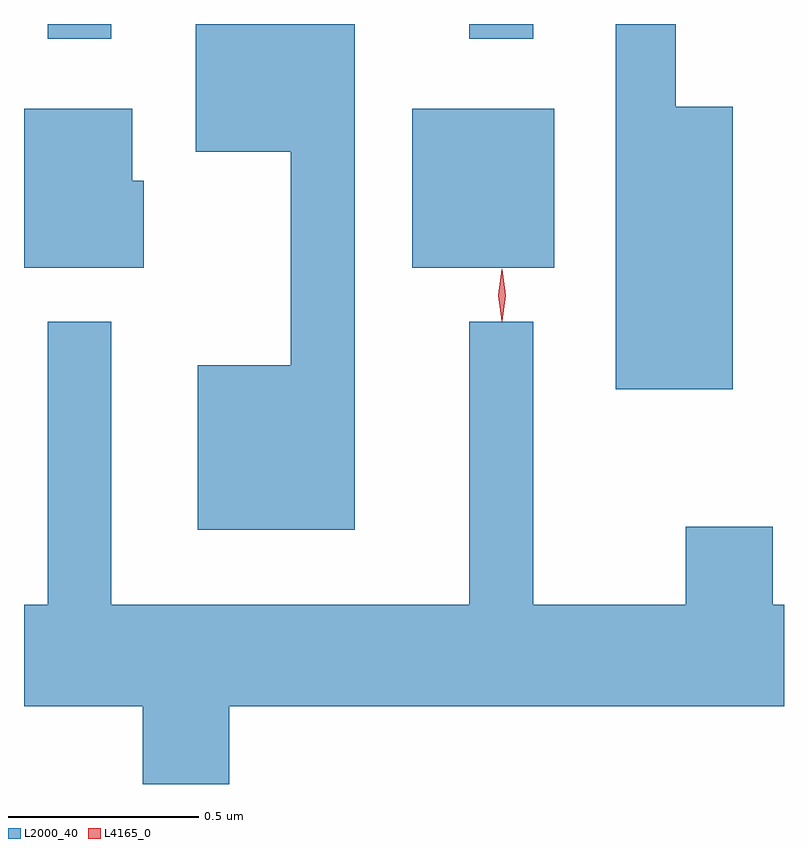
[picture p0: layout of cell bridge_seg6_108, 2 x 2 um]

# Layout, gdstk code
import gdstk
lib = gdstk.Library(unit=1e-6, precision=1e-09)
def R(c, l, rs):  # rectangles x0, y0, x1, y1
    for r in rs: c.add(gdstk.rectangle(r[:2], r[2:], *l))
def P(c, l, *ps):  # polygons
    for p in ps: c.add(gdstk.Polygon(p, *l))
L2000_40 = (2000, 40)
L4165_0 = (4165, 0)

bridge_seg6_108 = lib.new_cell('bridge_seg6_108')
R(bridge_seg6_108, L2000_40, [(1050.211,1631.111,1050.584,1631.529), (1049.251,1631.713,1049.419,1631.752), (1050.361,1631.713,1050.529,1631.752)])
P(bridge_seg6_108, L2000_40, [(1050.059,1631.752),(1049.641,1631.752),(1049.641,1631.416),(1049.891,1631.416),(1049.891,1630.854),(1049.646,1630.854),(1049.646,1630.421),(1050.059,1630.421)],
  [(1051.054,1631.534),(1050.904,1631.534),(1050.904,1631.752),(1050.746,1631.752),(1050.746,1630.791),(1051.054,1630.791)],
  [(1049.504,1631.339),(1049.474,1631.339),(1049.474,1631.529),(1049.189,1631.529),(1049.189,1631.111),(1049.504,1631.111)],
  [(1049.729,1629.956),(1051.189,1629.956),(1051.189,1630.224),(1051.159,1630.224),(1051.159,1630.429),(1050.931,1630.429),(1050.931,1630.224),(1050.529,1630.224),(1050.529,1630.968),(1050.361,1630.968),(1050.361,1630.224),(1049.419,1630.224),(1049.419,1630.968),(1049.251,1630.968),(1049.251,1630.224),(1049.189,1630.224),(1049.189,1629.956),(1049.501,1629.956),(1049.501,1629.752),(1049.729,1629.752)])
P(bridge_seg6_108, L4165_0, [(1050.447,1630.969),(1050.446,1630.97),(1050.437,1631.038),(1050.446,1631.106),(1050.447,1631.106),(1050.447,1631.106),(1050.457,1631.038),(1050.447,1630.97)],
  [(1050.447,1630.972),(1050.446,1630.973),(1050.437,1631.037),(1050.446,1631.101),(1050.447,1631.102),(1050.447,1631.101),(1050.457,1631.037),(1050.447,1630.973)])

lib.write_gds('bridge_seg6_108.gds')
